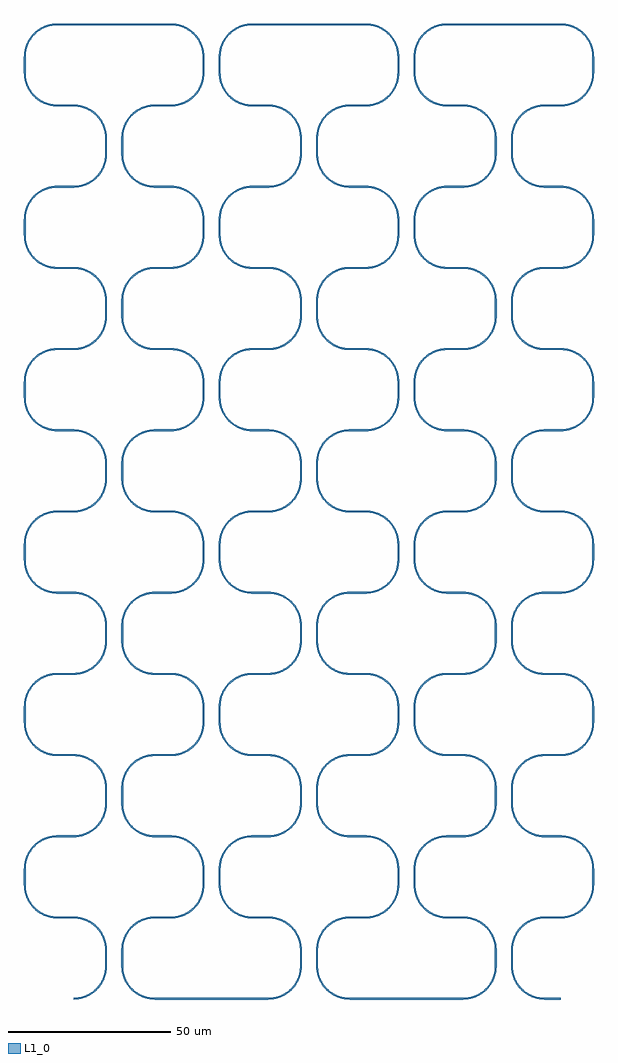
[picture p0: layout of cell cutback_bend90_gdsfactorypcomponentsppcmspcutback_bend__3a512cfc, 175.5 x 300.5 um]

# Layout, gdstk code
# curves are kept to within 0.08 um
from math import pi, radians
import gdstk
lib = gdstk.Library(unit=1e-6, precision=1e-09)
def R(c, l, rs):  # rectangles x0, y0, x1, y1
    for r in rs: c.add(gdstk.rectangle(r[:2], r[2:], *l))
def P(c, l, *ps):  # polygons
    for p in ps: c.add(gdstk.Polygon(p, *l))
L1_0 = (1, 0)

bend_circular_gdsfactory = lib.new_cell('bend_circular_gdsfactorypcomponentspbendspbend_circular_949aafe9')
P(bend_circular_gdsfactory, L1_0, [(0,-0.25),(0,0.25),(1.003,0.302),(1.994,0.456),(3.203,0.791),(4.133,1.169),(5.649,2.053),(6.805,3.018),(7.947,4.351),(8.721,5.641),(9.209,6.797),(9.489,7.761),(9.669,8.748),(9.75,10),(10.25,10),(10.084,8.162),(9.842,7.135),(9.495,6.139),(8.649,4.499),(8.037,3.639),(7.341,2.846),(6.566,2.129),(5.722,1.496),(4.817,0.953),(3.861,0.505),(2.865,0.158),(1.838,-0.084)])

straight_gdsfactorypcomp = lib.new_cell('straight_gdsfactorypcomponentspwaveguidespstraight_L5_N_32b584f5')
R(straight_gdsfactorypcomp, L1_0, [(0,-0.25,5,0.25)])

c_straight_gdsfactorypcomp = lib.new_cell('straight_gdsfactorypcomponentspwaveguidespstraight_L30__a17b4e39')
R(c_straight_gdsfactorypcomp, L1_0, [(0,-0.25,30,0.25)])

cutback_bend90_gdsfactor = lib.new_cell('cutback_bend90_gdsfactorypcomponentsppcmspcutback_bend__3a512cfc')
cutback_bend90_gdsfactor.add(gdstk.Reference(bend_circular_gdsfactory, (-5,150), rotation=pi))
cutback_bend90_gdsfactor.add(gdstk.Reference(straight_gdsfactorypcomp, (-5,150)))
cutback_bend90_gdsfactor.add(gdstk.Reference(bend_circular_gdsfactory, (0,150)))
cutback_bend90_gdsfactor.add(gdstk.Reference(bend_circular_gdsfactory, (15,160), rotation=3*pi/2))
cutback_bend90_gdsfactor.add(gdstk.Reference(straight_gdsfactorypcomp, (25,150)))
cutback_bend90_gdsfactor.add(gdstk.Reference(bend_circular_gdsfactory, (40,140), rotation=pi/2))
cutback_bend90_gdsfactor.add(gdstk.Reference(bend_circular_gdsfactory, (55,150), rotation=pi))
cutback_bend90_gdsfactor.add(gdstk.Reference(straight_gdsfactorypcomp, (55,150)))
cutback_bend90_gdsfactor.add(gdstk.Reference(bend_circular_gdsfactory, (60,150)))
cutback_bend90_gdsfactor.add(gdstk.Reference(c_straight_gdsfactorypcomp, (60,300)))
cutback_bend90_gdsfactor.add(gdstk.Reference(bend_circular_gdsfactory, (75,160), rotation=3*pi/2))
cutback_bend90_gdsfactor.add(gdstk.Reference(straight_gdsfactorypcomp, (85,150)))
cutback_bend90_gdsfactor.add(gdstk.Reference(bend_circular_gdsfactory, (100,140), rotation=pi/2))
cutback_bend90_gdsfactor.add(gdstk.Reference(bend_circular_gdsfactory, (115,150), rotation=pi))
cutback_bend90_gdsfactor.add(gdstk.Reference(straight_gdsfactorypcomp, (115,150)))
cutback_bend90_gdsfactor.add(gdstk.Reference(bend_circular_gdsfactory, (120,150)))
cutback_bend90_gdsfactor.add(gdstk.Reference(bend_circular_gdsfactory, (135,160), rotation=3*pi/2))
cutback_bend90_gdsfactor.add(gdstk.Reference(straight_gdsfactorypcomp, (145,150)))
cutback_bend90_gdsfactor.add(gdstk.Reference(bend_circular_gdsfactory, (160,140), rotation=pi/2))
cutback_bend90_gdsfactor.add(gdstk.Reference(straight_gdsfactorypcomp, (100,240), rotation=3*pi/2))
cutback_bend90_gdsfactor.add(gdstk.Reference(bend_circular_gdsfactory, (90,225)))
cutback_bend90_gdsfactor.add(gdstk.Reference(straight_gdsfactorypcomp, (90,225), rotation=pi))
cutback_bend90_gdsfactor.add(gdstk.Reference(bend_circular_gdsfactory, (85,225), rotation=pi))
cutback_bend90_gdsfactor.add(gdstk.Reference(straight_gdsfactorypcomp, (75,215), rotation=3*pi/2))
cutback_bend90_gdsfactor.add(gdstk.Reference(bend_circular_gdsfactory, (75,210), rotation=3*pi/2))
cutback_bend90_gdsfactor.add(gdstk.Reference(straight_gdsfactorypcomp, (85,200)))
cutback_bend90_gdsfactor.add(gdstk.Reference(bend_circular_gdsfactory, (100,190), rotation=pi/2))
cutback_bend90_gdsfactor.add(gdstk.Reference(straight_gdsfactorypcomp, (100,190), rotation=3*pi/2))
cutback_bend90_gdsfactor.add(gdstk.Reference(bend_circular_gdsfactory, (90,175)))
cutback_bend90_gdsfactor.add(gdstk.Reference(straight_gdsfactorypcomp, (90,175), rotation=pi))
cutback_bend90_gdsfactor.add(gdstk.Reference(bend_circular_gdsfactory, (85,175), rotation=pi))
cutback_bend90_gdsfactor.add(gdstk.Reference(straight_gdsfactorypcomp, (75,165), rotation=3*pi/2))
cutback_bend90_gdsfactor.add(gdstk.Reference(bend_circular_gdsfactory, (100,290), rotation=pi/2))
cutback_bend90_gdsfactor.add(gdstk.Reference(straight_gdsfactorypcomp, (100,290), rotation=3*pi/2))
cutback_bend90_gdsfactor.add(gdstk.Reference(bend_circular_gdsfactory, (90,275)))
cutback_bend90_gdsfactor.add(gdstk.Reference(straight_gdsfactorypcomp, (90,275), rotation=pi))
cutback_bend90_gdsfactor.add(gdstk.Reference(bend_circular_gdsfactory, (85,275), rotation=pi))
cutback_bend90_gdsfactor.add(gdstk.Reference(straight_gdsfactorypcomp, (75,265), rotation=3*pi/2))
cutback_bend90_gdsfactor.add(gdstk.Reference(straight_gdsfactorypcomp, (130,160), rotation=pi/2))
cutback_bend90_gdsfactor.add(gdstk.Reference(bend_circular_gdsfactory, (130,165), rotation=pi/2))
cutback_bend90_gdsfactor.add(gdstk.Reference(straight_gdsfactorypcomp, (120,175), rotation=pi))
cutback_bend90_gdsfactor.add(gdstk.Reference(bend_circular_gdsfactory, (105,185), rotation=3*pi/2))
cutback_bend90_gdsfactor.add(gdstk.Reference(straight_gdsfactorypcomp, (105,185), rotation=pi/2))
cutback_bend90_gdsfactor.add(gdstk.Reference(bend_circular_gdsfactory, (115,200), rotation=pi))
cutback_bend90_gdsfactor.add(gdstk.Reference(straight_gdsfactorypcomp, (115,200)))
cutback_bend90_gdsfactor.add(gdstk.Reference(bend_circular_gdsfactory, (120,200)))
cutback_bend90_gdsfactor.add(gdstk.Reference(straight_gdsfactorypcomp, (130,210), rotation=pi/2))
cutback_bend90_gdsfactor.add(gdstk.Reference(bend_circular_gdsfactory, (130,215), rotation=pi/2))
cutback_bend90_gdsfactor.add(gdstk.Reference(straight_gdsfactorypcomp, (120,225), rotation=pi))
cutback_bend90_gdsfactor.add(gdstk.Reference(bend_circular_gdsfactory, (105,235), rotation=3*pi/2))
cutback_bend90_gdsfactor.add(gdstk.Reference(straight_gdsfactorypcomp, (105,235), rotation=pi/2))
cutback_bend90_gdsfactor.add(gdstk.Reference(bend_circular_gdsfactory, (115,250), rotation=pi))
cutback_bend90_gdsfactor.add(gdstk.Reference(straight_gdsfactorypcomp, (115,250)))
cutback_bend90_gdsfactor.add(gdstk.Reference(bend_circular_gdsfactory, (120,250)))
cutback_bend90_gdsfactor.add(gdstk.Reference(straight_gdsfactorypcomp, (130,260), rotation=pi/2))
cutback_bend90_gdsfactor.add(gdstk.Reference(bend_circular_gdsfactory, (130,265), rotation=pi/2))
cutback_bend90_gdsfactor.add(gdstk.Reference(straight_gdsfactorypcomp, (120,275), rotation=pi))
cutback_bend90_gdsfactor.add(gdstk.Reference(bend_circular_gdsfactory, (105,285), rotation=3*pi/2))
cutback_bend90_gdsfactor.add(gdstk.Reference(straight_gdsfactorypcomp, (105,285), rotation=pi/2))
cutback_bend90_gdsfactor.add(gdstk.Reference(bend_circular_gdsfactory, (115,300), rotation=pi))
cutback_bend90_gdsfactor.add(gdstk.Reference(straight_gdsfactorypcomp, (115,300)))
cutback_bend90_gdsfactor.add(gdstk.Reference(c_straight_gdsfactorypcomp, (120,300)))
cutback_bend90_gdsfactor.add(gdstk.Reference(bend_circular_gdsfactory, (160,290), rotation=pi/2))
cutback_bend90_gdsfactor.add(gdstk.Reference(straight_gdsfactorypcomp, (160,290), rotation=3*pi/2))
cutback_bend90_gdsfactor.add(gdstk.Reference(bend_circular_gdsfactory, (150,275)))
cutback_bend90_gdsfactor.add(gdstk.Reference(straight_gdsfactorypcomp, (150,275), rotation=pi))
cutback_bend90_gdsfactor.add(gdstk.Reference(bend_circular_gdsfactory, (145,275), rotation=pi))
cutback_bend90_gdsfactor.add(gdstk.Reference(straight_gdsfactorypcomp, (135,265), rotation=3*pi/2))
cutback_bend90_gdsfactor.add(gdstk.Reference(bend_circular_gdsfactory, (135,260), rotation=3*pi/2))
cutback_bend90_gdsfactor.add(gdstk.Reference(straight_gdsfactorypcomp, (145,250)))
cutback_bend90_gdsfactor.add(gdstk.Reference(bend_circular_gdsfactory, (160,240), rotation=pi/2))
cutback_bend90_gdsfactor.add(gdstk.Reference(straight_gdsfactorypcomp, (160,240), rotation=3*pi/2))
cutback_bend90_gdsfactor.add(gdstk.Reference(bend_circular_gdsfactory, (150,225)))
cutback_bend90_gdsfactor.add(gdstk.Reference(straight_gdsfactorypcomp, (150,225), rotation=pi))
cutback_bend90_gdsfactor.add(gdstk.Reference(bend_circular_gdsfactory, (145,225), rotation=pi))
cutback_bend90_gdsfactor.add(gdstk.Reference(straight_gdsfactorypcomp, (135,215), rotation=3*pi/2))
cutback_bend90_gdsfactor.add(gdstk.Reference(bend_circular_gdsfactory, (135,210), rotation=3*pi/2))
cutback_bend90_gdsfactor.add(gdstk.Reference(straight_gdsfactorypcomp, (145,200)))
cutback_bend90_gdsfactor.add(gdstk.Reference(bend_circular_gdsfactory, (160,190), rotation=pi/2))
cutback_bend90_gdsfactor.add(gdstk.Reference(straight_gdsfactorypcomp, (160,190), rotation=3*pi/2))
cutback_bend90_gdsfactor.add(gdstk.Reference(bend_circular_gdsfactory, (150,175)))
cutback_bend90_gdsfactor.add(gdstk.Reference(straight_gdsfactorypcomp, (150,175), rotation=pi))
cutback_bend90_gdsfactor.add(gdstk.Reference(bend_circular_gdsfactory, (145,175), rotation=pi))
cutback_bend90_gdsfactor.add(gdstk.Reference(straight_gdsfactorypcomp, (135,165), rotation=3*pi/2))
cutback_bend90_gdsfactor.add(gdstk.Reference(bend_circular_gdsfactory, (75,260), rotation=3*pi/2))
cutback_bend90_gdsfactor.add(gdstk.Reference(straight_gdsfactorypcomp, (85,250)))
cutback_bend90_gdsfactor.add(gdstk.Reference(bend_circular_gdsfactory, (100,240), rotation=pi/2))
cutback_bend90_gdsfactor.add(gdstk.Reference(bend_circular_gdsfactory, (0,250)))
cutback_bend90_gdsfactor.add(gdstk.Reference(straight_gdsfactorypcomp, (10,260), rotation=pi/2))
cutback_bend90_gdsfactor.add(gdstk.Reference(bend_circular_gdsfactory, (10,265), rotation=pi/2))
cutback_bend90_gdsfactor.add(gdstk.Reference(straight_gdsfactorypcomp, (0,275), rotation=pi))
cutback_bend90_gdsfactor.add(gdstk.Reference(bend_circular_gdsfactory, (-15,285), rotation=3*pi/2))
cutback_bend90_gdsfactor.add(gdstk.Reference(straight_gdsfactorypcomp, (-15,285), rotation=pi/2))
cutback_bend90_gdsfactor.add(gdstk.Reference(bend_circular_gdsfactory, (-5,300), rotation=pi))
cutback_bend90_gdsfactor.add(gdstk.Reference(straight_gdsfactorypcomp, (-5,300)))
cutback_bend90_gdsfactor.add(gdstk.Reference(c_straight_gdsfactorypcomp, (0,300)))
cutback_bend90_gdsfactor.add(gdstk.Reference(bend_circular_gdsfactory, (40,290), rotation=pi/2))
cutback_bend90_gdsfactor.add(gdstk.Reference(straight_gdsfactorypcomp, (40,290), rotation=3*pi/2))
cutback_bend90_gdsfactor.add(gdstk.Reference(bend_circular_gdsfactory, (30,275)))
cutback_bend90_gdsfactor.add(gdstk.Reference(straight_gdsfactorypcomp, (30,275), rotation=pi))
cutback_bend90_gdsfactor.add(gdstk.Reference(bend_circular_gdsfactory, (25,275), rotation=pi))
cutback_bend90_gdsfactor.add(gdstk.Reference(straight_gdsfactorypcomp, (15,265), rotation=3*pi/2))
cutback_bend90_gdsfactor.add(gdstk.Reference(bend_circular_gdsfactory, (15,260), rotation=3*pi/2))
cutback_bend90_gdsfactor.add(gdstk.Reference(straight_gdsfactorypcomp, (25,250)))
cutback_bend90_gdsfactor.add(gdstk.Reference(bend_circular_gdsfactory, (40,240), rotation=pi/2))
cutback_bend90_gdsfactor.add(gdstk.Reference(straight_gdsfactorypcomp, (40,240), rotation=3*pi/2))
cutback_bend90_gdsfactor.add(gdstk.Reference(bend_circular_gdsfactory, (30,225)))
cutback_bend90_gdsfactor.add(gdstk.Reference(straight_gdsfactorypcomp, (30,225), rotation=pi))
cutback_bend90_gdsfactor.add(gdstk.Reference(bend_circular_gdsfactory, (25,225), rotation=pi))
cutback_bend90_gdsfactor.add(gdstk.Reference(straight_gdsfactorypcomp, (15,215), rotation=3*pi/2))
cutback_bend90_gdsfactor.add(gdstk.Reference(bend_circular_gdsfactory, (15,210), rotation=3*pi/2))
cutback_bend90_gdsfactor.add(gdstk.Reference(straight_gdsfactorypcomp, (25,200)))
cutback_bend90_gdsfactor.add(gdstk.Reference(bend_circular_gdsfactory, (40,190), rotation=pi/2))
cutback_bend90_gdsfactor.add(gdstk.Reference(straight_gdsfactorypcomp, (40,190), rotation=3*pi/2))
cutback_bend90_gdsfactor.add(gdstk.Reference(bend_circular_gdsfactory, (30,175)))
cutback_bend90_gdsfactor.add(gdstk.Reference(straight_gdsfactorypcomp, (30,175), rotation=pi))
cutback_bend90_gdsfactor.add(gdstk.Reference(bend_circular_gdsfactory, (25,175), rotation=pi))
cutback_bend90_gdsfactor.add(gdstk.Reference(straight_gdsfactorypcomp, (15,165), rotation=3*pi/2))
cutback_bend90_gdsfactor.add(gdstk.Reference(straight_gdsfactorypcomp, (10,160), rotation=pi/2))
cutback_bend90_gdsfactor.add(gdstk.Reference(bend_circular_gdsfactory, (10,165), rotation=pi/2))
cutback_bend90_gdsfactor.add(gdstk.Reference(straight_gdsfactorypcomp, (0,175), rotation=pi))
cutback_bend90_gdsfactor.add(gdstk.Reference(bend_circular_gdsfactory, (-15,185), rotation=3*pi/2))
cutback_bend90_gdsfactor.add(gdstk.Reference(straight_gdsfactorypcomp, (-15,185), rotation=pi/2))
cutback_bend90_gdsfactor.add(gdstk.Reference(bend_circular_gdsfactory, (-5,200), rotation=pi))
cutback_bend90_gdsfactor.add(gdstk.Reference(straight_gdsfactorypcomp, (70,160), rotation=pi/2))
cutback_bend90_gdsfactor.add(gdstk.Reference(bend_circular_gdsfactory, (70,165), rotation=pi/2))
cutback_bend90_gdsfactor.add(gdstk.Reference(straight_gdsfactorypcomp, (60,175), rotation=pi))
cutback_bend90_gdsfactor.add(gdstk.Reference(bend_circular_gdsfactory, (45,185), rotation=3*pi/2))
cutback_bend90_gdsfactor.add(gdstk.Reference(straight_gdsfactorypcomp, (45,185), rotation=pi/2))
cutback_bend90_gdsfactor.add(gdstk.Reference(bend_circular_gdsfactory, (55,200), rotation=pi))
cutback_bend90_gdsfactor.add(gdstk.Reference(straight_gdsfactorypcomp, (55,200)))
cutback_bend90_gdsfactor.add(gdstk.Reference(bend_circular_gdsfactory, (60,200)))
cutback_bend90_gdsfactor.add(gdstk.Reference(straight_gdsfactorypcomp, (70,210), rotation=pi/2))
cutback_bend90_gdsfactor.add(gdstk.Reference(bend_circular_gdsfactory, (70,215), rotation=pi/2))
cutback_bend90_gdsfactor.add(gdstk.Reference(straight_gdsfactorypcomp, (60,225), rotation=pi))
cutback_bend90_gdsfactor.add(gdstk.Reference(bend_circular_gdsfactory, (45,235), rotation=3*pi/2))
cutback_bend90_gdsfactor.add(gdstk.Reference(straight_gdsfactorypcomp, (45,235), rotation=pi/2))
cutback_bend90_gdsfactor.add(gdstk.Reference(bend_circular_gdsfactory, (55,250), rotation=pi))
cutback_bend90_gdsfactor.add(gdstk.Reference(straight_gdsfactorypcomp, (55,250)))
cutback_bend90_gdsfactor.add(gdstk.Reference(bend_circular_gdsfactory, (60,250)))
cutback_bend90_gdsfactor.add(gdstk.Reference(straight_gdsfactorypcomp, (70,260), rotation=pi/2))
cutback_bend90_gdsfactor.add(gdstk.Reference(bend_circular_gdsfactory, (70,265), rotation=pi/2))
cutback_bend90_gdsfactor.add(gdstk.Reference(straight_gdsfactorypcomp, (60,275), rotation=pi))
cutback_bend90_gdsfactor.add(gdstk.Reference(bend_circular_gdsfactory, (45,285), rotation=3*pi/2))
cutback_bend90_gdsfactor.add(gdstk.Reference(straight_gdsfactorypcomp, (45,285), rotation=pi/2))
cutback_bend90_gdsfactor.add(gdstk.Reference(bend_circular_gdsfactory, (55,300), rotation=pi))
cutback_bend90_gdsfactor.add(gdstk.Reference(straight_gdsfactorypcomp, (55,300)))
cutback_bend90_gdsfactor.add(gdstk.Reference(straight_gdsfactorypcomp, (-5,200)))
cutback_bend90_gdsfactor.add(gdstk.Reference(bend_circular_gdsfactory, (0,200)))
cutback_bend90_gdsfactor.add(gdstk.Reference(straight_gdsfactorypcomp, (10,210), rotation=pi/2))
cutback_bend90_gdsfactor.add(gdstk.Reference(bend_circular_gdsfactory, (10,215), rotation=pi/2))
cutback_bend90_gdsfactor.add(gdstk.Reference(straight_gdsfactorypcomp, (0,225), rotation=pi))
cutback_bend90_gdsfactor.add(gdstk.Reference(bend_circular_gdsfactory, (-15,235), rotation=3*pi/2))
cutback_bend90_gdsfactor.add(gdstk.Reference(straight_gdsfactorypcomp, (-15,235), rotation=pi/2))
cutback_bend90_gdsfactor.add(gdstk.Reference(bend_circular_gdsfactory, (-5,250), rotation=pi))
cutback_bend90_gdsfactor.add(gdstk.Reference(straight_gdsfactorypcomp, (-5,250)))
cutback_bend90_gdsfactor.add(gdstk.Reference(straight_gdsfactorypcomp, (25,50)))
cutback_bend90_gdsfactor.add(gdstk.Reference(bend_circular_gdsfactory, (40,40), rotation=pi/2))
cutback_bend90_gdsfactor.add(gdstk.Reference(straight_gdsfactorypcomp, (40,40), rotation=3*pi/2))
cutback_bend90_gdsfactor.add(gdstk.Reference(bend_circular_gdsfactory, (30,25)))
cutback_bend90_gdsfactor.add(gdstk.Reference(straight_gdsfactorypcomp, (30,25), rotation=pi))
cutback_bend90_gdsfactor.add(gdstk.Reference(bend_circular_gdsfactory, (25,25), rotation=pi))
cutback_bend90_gdsfactor.add(gdstk.Reference(straight_gdsfactorypcomp, (15,15), rotation=3*pi/2))
cutback_bend90_gdsfactor.add(gdstk.Reference(bend_circular_gdsfactory, (15,10), rotation=3*pi/2))
cutback_bend90_gdsfactor.add(gdstk.Reference(straight_gdsfactorypcomp, (25,0)))
cutback_bend90_gdsfactor.add(gdstk.Reference(c_straight_gdsfactorypcomp, (30,0)))
cutback_bend90_gdsfactor.add(gdstk.Reference(bend_circular_gdsfactory, (60,0)))
cutback_bend90_gdsfactor.add(gdstk.Reference(straight_gdsfactorypcomp, (70,10), rotation=pi/2))
cutback_bend90_gdsfactor.add(gdstk.Reference(bend_circular_gdsfactory, (70,15), rotation=pi/2))
cutback_bend90_gdsfactor.add(gdstk.Reference(straight_gdsfactorypcomp, (60,25), rotation=pi))
cutback_bend90_gdsfactor.add(gdstk.Reference(bend_circular_gdsfactory, (45,35), rotation=3*pi/2))
cutback_bend90_gdsfactor.add(gdstk.Reference(straight_gdsfactorypcomp, (45,35), rotation=pi/2))
cutback_bend90_gdsfactor.add(gdstk.Reference(bend_circular_gdsfactory, (55,50), rotation=pi))
cutback_bend90_gdsfactor.add(gdstk.Reference(straight_gdsfactorypcomp, (55,50)))
cutback_bend90_gdsfactor.add(gdstk.Reference(bend_circular_gdsfactory, (60,50)))
cutback_bend90_gdsfactor.add(gdstk.Reference(straight_gdsfactorypcomp, (70,60), rotation=pi/2))
cutback_bend90_gdsfactor.add(gdstk.Reference(bend_circular_gdsfactory, (70,65), rotation=pi/2))
cutback_bend90_gdsfactor.add(gdstk.Reference(straight_gdsfactorypcomp, (60,75), rotation=pi))
cutback_bend90_gdsfactor.add(gdstk.Reference(bend_circular_gdsfactory, (45,85), rotation=3*pi/2))
cutback_bend90_gdsfactor.add(gdstk.Reference(straight_gdsfactorypcomp, (45,85), rotation=pi/2))
cutback_bend90_gdsfactor.add(gdstk.Reference(bend_circular_gdsfactory, (55,100), rotation=pi))
cutback_bend90_gdsfactor.add(gdstk.Reference(straight_gdsfactorypcomp, (55,100)))
cutback_bend90_gdsfactor.add(gdstk.Reference(bend_circular_gdsfactory, (60,100)))
cutback_bend90_gdsfactor.add(gdstk.Reference(straight_gdsfactorypcomp, (70,110), rotation=pi/2))
cutback_bend90_gdsfactor.add(gdstk.Reference(bend_circular_gdsfactory, (70,115), rotation=pi/2))
cutback_bend90_gdsfactor.add(gdstk.Reference(straight_gdsfactorypcomp, (60,125), rotation=pi))
cutback_bend90_gdsfactor.add(gdstk.Reference(bend_circular_gdsfactory, (45,135), rotation=3*pi/2))
cutback_bend90_gdsfactor.add(gdstk.Reference(straight_gdsfactorypcomp, (45,135), rotation=pi/2))
cutback_bend90_gdsfactor.add(gdstk.Reference(bend_circular_gdsfactory, (0,50)))
cutback_bend90_gdsfactor.add(gdstk.Reference(straight_gdsfactorypcomp, (10,60), rotation=pi/2))
cutback_bend90_gdsfactor.add(gdstk.Reference(bend_circular_gdsfactory, (10,65), rotation=pi/2))
cutback_bend90_gdsfactor.add(gdstk.Reference(straight_gdsfactorypcomp, (0,75), rotation=pi))
cutback_bend90_gdsfactor.add(gdstk.Reference(bend_circular_gdsfactory, (-15,85), rotation=3*pi/2))
cutback_bend90_gdsfactor.add(gdstk.Reference(straight_gdsfactorypcomp, (-15,85), rotation=pi/2))
cutback_bend90_gdsfactor.add(gdstk.Reference(bend_circular_gdsfactory, (-5,100), rotation=pi))
cutback_bend90_gdsfactor.add(gdstk.Reference(straight_gdsfactorypcomp, (-5,100)))
cutback_bend90_gdsfactor.add(gdstk.Reference(bend_circular_gdsfactory, (0,100)))
cutback_bend90_gdsfactor.add(gdstk.Reference(straight_gdsfactorypcomp, (10,110), rotation=pi/2))
cutback_bend90_gdsfactor.add(gdstk.Reference(bend_circular_gdsfactory, (10,115), rotation=pi/2))
cutback_bend90_gdsfactor.add(gdstk.Reference(straight_gdsfactorypcomp, (0,125), rotation=pi))
cutback_bend90_gdsfactor.add(gdstk.Reference(bend_circular_gdsfactory, (-15,135), rotation=3*pi/2))
cutback_bend90_gdsfactor.add(gdstk.Reference(straight_gdsfactorypcomp, (-15,135), rotation=pi/2))
cutback_bend90_gdsfactor.add(gdstk.Reference(bend_circular_gdsfactory, (0,0)))
cutback_bend90_gdsfactor.add(gdstk.Reference(straight_gdsfactorypcomp, (10,10), rotation=pi/2))
cutback_bend90_gdsfactor.add(gdstk.Reference(bend_circular_gdsfactory, (10,15), rotation=pi/2))
cutback_bend90_gdsfactor.add(gdstk.Reference(straight_gdsfactorypcomp, (0,25), rotation=pi))
cutback_bend90_gdsfactor.add(gdstk.Reference(bend_circular_gdsfactory, (-15,35), rotation=3*pi/2))
cutback_bend90_gdsfactor.add(gdstk.Reference(straight_gdsfactorypcomp, (-15,35), rotation=pi/2))
cutback_bend90_gdsfactor.add(gdstk.Reference(bend_circular_gdsfactory, (-5,50), rotation=pi))
cutback_bend90_gdsfactor.add(gdstk.Reference(straight_gdsfactorypcomp, (-5,50)))
cutback_bend90_gdsfactor.add(gdstk.Reference(straight_gdsfactorypcomp, (40,140), rotation=3*pi/2))
cutback_bend90_gdsfactor.add(gdstk.Reference(bend_circular_gdsfactory, (30,125)))
cutback_bend90_gdsfactor.add(gdstk.Reference(straight_gdsfactorypcomp, (30,125), rotation=pi))
cutback_bend90_gdsfactor.add(gdstk.Reference(bend_circular_gdsfactory, (25,125), rotation=pi))
cutback_bend90_gdsfactor.add(gdstk.Reference(straight_gdsfactorypcomp, (15,115), rotation=3*pi/2))
cutback_bend90_gdsfactor.add(gdstk.Reference(bend_circular_gdsfactory, (15,110), rotation=3*pi/2))
cutback_bend90_gdsfactor.add(gdstk.Reference(straight_gdsfactorypcomp, (25,100)))
cutback_bend90_gdsfactor.add(gdstk.Reference(bend_circular_gdsfactory, (40,90), rotation=pi/2))
cutback_bend90_gdsfactor.add(gdstk.Reference(straight_gdsfactorypcomp, (40,90), rotation=3*pi/2))
cutback_bend90_gdsfactor.add(gdstk.Reference(bend_circular_gdsfactory, (30,75)))
cutback_bend90_gdsfactor.add(gdstk.Reference(straight_gdsfactorypcomp, (30,75), rotation=pi))
cutback_bend90_gdsfactor.add(gdstk.Reference(bend_circular_gdsfactory, (25,75), rotation=pi))
cutback_bend90_gdsfactor.add(gdstk.Reference(straight_gdsfactorypcomp, (15,65), rotation=3*pi/2))
cutback_bend90_gdsfactor.add(gdstk.Reference(bend_circular_gdsfactory, (15,60), rotation=3*pi/2))
cutback_bend90_gdsfactor.add(gdstk.Reference(straight_gdsfactorypcomp, (85,100)))
cutback_bend90_gdsfactor.add(gdstk.Reference(bend_circular_gdsfactory, (100,90), rotation=pi/2))
cutback_bend90_gdsfactor.add(gdstk.Reference(straight_gdsfactorypcomp, (100,90), rotation=3*pi/2))
cutback_bend90_gdsfactor.add(gdstk.Reference(bend_circular_gdsfactory, (90,75)))
cutback_bend90_gdsfactor.add(gdstk.Reference(straight_gdsfactorypcomp, (90,75), rotation=pi))
cutback_bend90_gdsfactor.add(gdstk.Reference(bend_circular_gdsfactory, (85,75), rotation=pi))
cutback_bend90_gdsfactor.add(gdstk.Reference(straight_gdsfactorypcomp, (75,65), rotation=3*pi/2))
cutback_bend90_gdsfactor.add(gdstk.Reference(bend_circular_gdsfactory, (75,60), rotation=3*pi/2))
cutback_bend90_gdsfactor.add(gdstk.Reference(straight_gdsfactorypcomp, (85,50)))
cutback_bend90_gdsfactor.add(gdstk.Reference(bend_circular_gdsfactory, (100,40), rotation=pi/2))
cutback_bend90_gdsfactor.add(gdstk.Reference(straight_gdsfactorypcomp, (100,40), rotation=3*pi/2))
cutback_bend90_gdsfactor.add(gdstk.Reference(bend_circular_gdsfactory, (90,25)))
cutback_bend90_gdsfactor.add(gdstk.Reference(straight_gdsfactorypcomp, (90,25), rotation=pi))
cutback_bend90_gdsfactor.add(gdstk.Reference(bend_circular_gdsfactory, (85,25), rotation=pi))
cutback_bend90_gdsfactor.add(gdstk.Reference(straight_gdsfactorypcomp, (75,15), rotation=3*pi/2))
cutback_bend90_gdsfactor.add(gdstk.Reference(bend_circular_gdsfactory, (75,10), rotation=3*pi/2))
cutback_bend90_gdsfactor.add(gdstk.Reference(straight_gdsfactorypcomp, (85,0)))
cutback_bend90_gdsfactor.add(gdstk.Reference(c_straight_gdsfactorypcomp, (90,0)))
cutback_bend90_gdsfactor.add(gdstk.Reference(bend_circular_gdsfactory, (120,0)))
cutback_bend90_gdsfactor.add(gdstk.Reference(straight_gdsfactorypcomp, (130,10), rotation=pi/2))
cutback_bend90_gdsfactor.add(gdstk.Reference(bend_circular_gdsfactory, (130,15), rotation=pi/2))
cutback_bend90_gdsfactor.add(gdstk.Reference(straight_gdsfactorypcomp, (120,25), rotation=pi))
cutback_bend90_gdsfactor.add(gdstk.Reference(bend_circular_gdsfactory, (105,35), rotation=3*pi/2))
cutback_bend90_gdsfactor.add(gdstk.Reference(straight_gdsfactorypcomp, (105,35), rotation=pi/2))
cutback_bend90_gdsfactor.add(gdstk.Reference(bend_circular_gdsfactory, (115,50), rotation=pi))
cutback_bend90_gdsfactor.add(gdstk.Reference(straight_gdsfactorypcomp, (115,50)))
cutback_bend90_gdsfactor.add(gdstk.Reference(bend_circular_gdsfactory, (120,50)))
cutback_bend90_gdsfactor.add(gdstk.Reference(straight_gdsfactorypcomp, (130,60), rotation=pi/2))
cutback_bend90_gdsfactor.add(gdstk.Reference(bend_circular_gdsfactory, (130,65), rotation=pi/2))
cutback_bend90_gdsfactor.add(gdstk.Reference(straight_gdsfactorypcomp, (120,75), rotation=pi))
cutback_bend90_gdsfactor.add(gdstk.Reference(bend_circular_gdsfactory, (105,85), rotation=3*pi/2))
cutback_bend90_gdsfactor.add(gdstk.Reference(straight_gdsfactorypcomp, (105,85), rotation=pi/2))
cutback_bend90_gdsfactor.add(gdstk.Reference(bend_circular_gdsfactory, (115,100), rotation=pi))
cutback_bend90_gdsfactor.add(gdstk.Reference(straight_gdsfactorypcomp, (115,100)))
cutback_bend90_gdsfactor.add(gdstk.Reference(bend_circular_gdsfactory, (120,100)))
cutback_bend90_gdsfactor.add(gdstk.Reference(straight_gdsfactorypcomp, (130,110), rotation=pi/2))
cutback_bend90_gdsfactor.add(gdstk.Reference(bend_circular_gdsfactory, (130,115), rotation=pi/2))
cutback_bend90_gdsfactor.add(gdstk.Reference(straight_gdsfactorypcomp, (120,125), rotation=pi))
cutback_bend90_gdsfactor.add(gdstk.Reference(bend_circular_gdsfactory, (105,135), rotation=3*pi/2))
cutback_bend90_gdsfactor.add(gdstk.Reference(straight_gdsfactorypcomp, (105,135), rotation=pi/2))
cutback_bend90_gdsfactor.add(gdstk.Reference(straight_gdsfactorypcomp, (100,140), rotation=3*pi/2))
cutback_bend90_gdsfactor.add(gdstk.Reference(bend_circular_gdsfactory, (90,125)))
cutback_bend90_gdsfactor.add(gdstk.Reference(straight_gdsfactorypcomp, (90,125), rotation=pi))
cutback_bend90_gdsfactor.add(gdstk.Reference(bend_circular_gdsfactory, (85,125), rotation=pi))
cutback_bend90_gdsfactor.add(gdstk.Reference(straight_gdsfactorypcomp, (75,115), rotation=3*pi/2))
cutback_bend90_gdsfactor.add(gdstk.Reference(bend_circular_gdsfactory, (75,110), rotation=3*pi/2))
cutback_bend90_gdsfactor.add(gdstk.Reference(straight_gdsfactorypcomp, (160,140), rotation=3*pi/2))
cutback_bend90_gdsfactor.add(gdstk.Reference(bend_circular_gdsfactory, (150,125)))
cutback_bend90_gdsfactor.add(gdstk.Reference(straight_gdsfactorypcomp, (150,125), rotation=pi))
cutback_bend90_gdsfactor.add(gdstk.Reference(bend_circular_gdsfactory, (145,125), rotation=pi))
cutback_bend90_gdsfactor.add(gdstk.Reference(straight_gdsfactorypcomp, (135,115), rotation=3*pi/2))
cutback_bend90_gdsfactor.add(gdstk.Reference(bend_circular_gdsfactory, (135,110), rotation=3*pi/2))
cutback_bend90_gdsfactor.add(gdstk.Reference(straight_gdsfactorypcomp, (145,100)))
cutback_bend90_gdsfactor.add(gdstk.Reference(bend_circular_gdsfactory, (160,90), rotation=pi/2))
cutback_bend90_gdsfactor.add(gdstk.Reference(straight_gdsfactorypcomp, (160,90), rotation=3*pi/2))
cutback_bend90_gdsfactor.add(gdstk.Reference(bend_circular_gdsfactory, (150,75)))
cutback_bend90_gdsfactor.add(gdstk.Reference(straight_gdsfactorypcomp, (150,75), rotation=pi))
cutback_bend90_gdsfactor.add(gdstk.Reference(bend_circular_gdsfactory, (145,75), rotation=pi))
cutback_bend90_gdsfactor.add(gdstk.Reference(straight_gdsfactorypcomp, (135,65), rotation=3*pi/2))
cutback_bend90_gdsfactor.add(gdstk.Reference(bend_circular_gdsfactory, (135,60), rotation=3*pi/2))
cutback_bend90_gdsfactor.add(gdstk.Reference(straight_gdsfactorypcomp, (145,50)))
cutback_bend90_gdsfactor.add(gdstk.Reference(bend_circular_gdsfactory, (160,40), rotation=pi/2))
cutback_bend90_gdsfactor.add(gdstk.Reference(straight_gdsfactorypcomp, (160,40), rotation=3*pi/2))
cutback_bend90_gdsfactor.add(gdstk.Reference(bend_circular_gdsfactory, (150,25)))
cutback_bend90_gdsfactor.add(gdstk.Reference(straight_gdsfactorypcomp, (150,25), rotation=pi))
cutback_bend90_gdsfactor.add(gdstk.Reference(bend_circular_gdsfactory, (145,25), rotation=pi))
cutback_bend90_gdsfactor.add(gdstk.Reference(straight_gdsfactorypcomp, (135,15), rotation=3*pi/2))
cutback_bend90_gdsfactor.add(gdstk.Reference(bend_circular_gdsfactory, (135,10), rotation=3*pi/2))
cutback_bend90_gdsfactor.add(gdstk.Reference(straight_gdsfactorypcomp, (145,0)))

lib.write_gds('cutback_bend90_gdsfactorypcomponentsppcmspcutback_bend__3a512cfc.gds')
